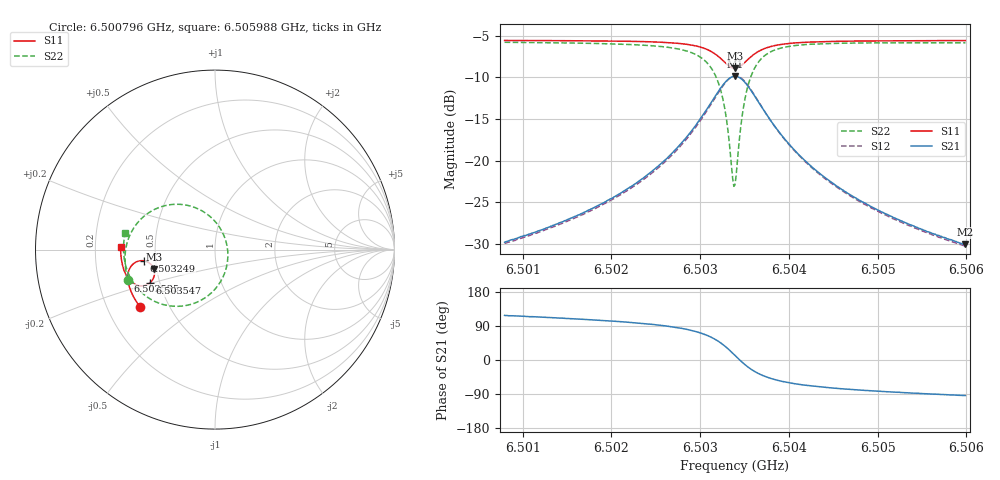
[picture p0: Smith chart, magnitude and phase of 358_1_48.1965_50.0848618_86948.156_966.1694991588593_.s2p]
#  HZ  S  RI  R  50.00
! Rohde & Schwarz Vector Network Analyzer
! Rohde-Schwarz,ZNB20-2Port,1311601062101988,3.16
! Created: UTC 3/20/2024, 11:52:04 AM
! freq[Hz]  re:S11  im:S11  re:S21  im:S21  re:S12  im:S12  re:S22  im:S22
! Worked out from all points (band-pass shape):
!   401 points, 6.500796 GHz to 6.505988 GHz, reference 50 ohm
!   highest |S21| = -9.86 dB at 6.503392 GHz (marker M1); lowest = -30.0 dB at 6.505988 GHz (marker M2)
!   |S21| within 3 dB of the highest: 6.503132 GHz to 6.503651 GHz (518.6 kHz wide, 0.00797 % of centre)
!   lowest |S11| = -8.9 dB at 6.503392 GHz (marker M3), VSWR 2.11, Z = 24.1 - j6.1 ohm
!   |S11| at or under -10 dB: nowhere
!   |S22| runs from -23.1 to -5.8 dB; largest |S21 - S12| = 0.011
!   S11 on the Smith chart (normalised r, x): 6.500796 GHz: 0.34, -0.30; 6.502535 GHz: 0.33, -0.15; 6.503249 GHz: 0.43, -0.06; 6.503547 GHz: 0.44, -0.20; 6.505988 GHz: 0.31, +0.01
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6.5007956e9  -0.4192 -0.3187  -0.0151 0.0287  -0.0134 0.029  -0.4853 -0.168
6.5016653e9  -0.4576 -0.2557  -0.0145 0.046  -0.0122 0.0457  -0.501 -0.0782
6.5021196e9  -0.4743 -0.2165  -0.0121 0.0636  -0.00929 0.0627  -0.4998 -0.0162
6.502535e9  -0.485 -0.1721  -0.00328 0.0937  0.000286 0.0914  -0.4816 0.0628
6.5027946e9  -0.4848 -0.1353  0.015 0.1277  0.0188 0.124  -0.4428 0.135
6.5029763e9  -0.4737 -0.1022  0.0491 0.1635  0.0523 0.158  -0.376 0.2008
6.503145e9  -0.4396 -0.0691  0.1253 0.1964  0.1266 0.1902  -0.2359 0.2517
6.5032489e9  -0.3977 -0.0619  0.2094 0.188  0.2096 0.1827  -0.0899 0.225
6.5033008e9  -0.3727 -0.0705  0.2569 0.1608  0.2578 0.1561  -0.0107 0.169
6.5033657e9  -0.3464 -0.0962  0.3041 0.0985  0.3064 0.0935  0.0603 0.0493
6.5033917e9  -0.34 -0.1104  0.3142 0.0671  0.3171 0.0612  0.0711 -0.00943
6.5034046e9  -0.3382 -0.118  0.3168 0.0507  0.32 0.0443  0.0716 -0.0393
6.5034566e9  -0.339 -0.1483  0.3113 -0.0137  0.3143 -0.0224  0.0444 -0.1535
6.5034825e9  -0.3441 -0.1619  0.3004 -0.0421  0.3023 -0.0518  0.0155 -0.2014
6.5035474e9  -0.3647 -0.1871  0.2586 -0.0953  0.2574 -0.1061  -0.0786 -0.2824
6.5036513e9  -0.4035 -0.2018  0.1859 -0.1309  0.1806 -0.14  -0.2248 -0.3158
6.50382e9  -0.4487 -0.192  0.106 -0.1281  0.0993 -0.133  -0.3686 -0.2704
6.5040017e9  -0.4758 -0.1706  0.0626 -0.1088  0.0566 -0.111  -0.439 -0.2069
6.5042613e9  -0.4963 -0.1406  0.0334 -0.085  0.0286 -0.0857  -0.4816 -0.1359
6.5046637e9  -0.512 -0.0994  0.0142 -0.0621  0.0111 -0.0618  -0.5041 -0.0597
6.505131e9  -0.5211 -0.0567  0.00478 -0.0467  0.00269 -0.046  -0.5096 0.00407
6.5059877e9  -0.5258 0.0152  -0.00207 -0.0314  -0.00336 -0.0305  -0.5014 0.0926
